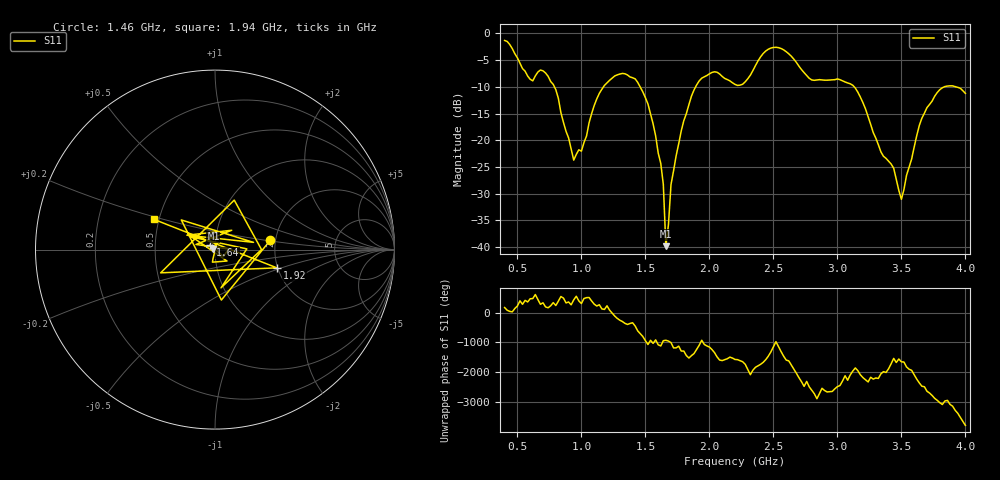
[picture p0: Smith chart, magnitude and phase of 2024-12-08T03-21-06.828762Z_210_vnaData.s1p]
!Created with skrf (http://scikit-rf.org).
# Hz S RI R 50.0
!freq ReS11 ImS11
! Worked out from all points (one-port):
!   181 points, 400 MHz to 4 GHz, reference 50 ohm
!   lowest |S11| = -39.9 dB at 1.66 GHz (marker M1), VSWR 1.02, Z = 49.1 + j0.462 ohm
!   |S11| at or under -10 dB: 789.2 MHz to 1.173 GHz (383.3 MHz wide, 39.1 % of centre); 1.458 GHz to 1.892 GHz (434.1 MHz wide, 25.9 % of centre); 3.131 GHz to 3.836 GHz (704.3 MHz wide, 20.2 % of centre) (the widest 3 of 4)
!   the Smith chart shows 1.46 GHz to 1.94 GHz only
!   S11 on the Smith chart (normalised r, x): 1.46 GHz: 1.88, +0.22; 1.64 GHz: 0.94, +0.05; 1.92 GHz: 1.98, -0.46; 1.94 GHz: 0.47, +0.18
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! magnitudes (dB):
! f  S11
! 400 MHz  -1.3
! 600 MHz  -8.6
! 740 MHz  -8.0
! 800 MHz  -10.5
! 860 MHz  -16.7
! 940 MHz  -23.7
! 1 GHz  -22.1
! 1.14 GHz  -11.2
! 1.3 GHz  -7.6
! 1.46 GHz  -10.1
! 1.56 GHz  -16.9
! 1.64 GHz  -28.3
! 1.66 GHz  -39.9
! 1.7 GHz  -28.3
! 1.76 GHz  -20.7
! 1.92 GHz  -8.9
! 1.94 GHz  -8.4
! 2.2 GHz  -9.5
! 2.48 GHz  -2.7
! 2.66 GHz  -4.8
! 2.8 GHz  -8.7
! 3.1 GHz  -9.4
! 3.44 GHz  -25.3
! 3.5 GHz  -31.1
! 3.56 GHz  -25.1
! 3.66 GHz  -15.9
! 3.78 GHz  -11.1
! 4 GHz  -11.2
